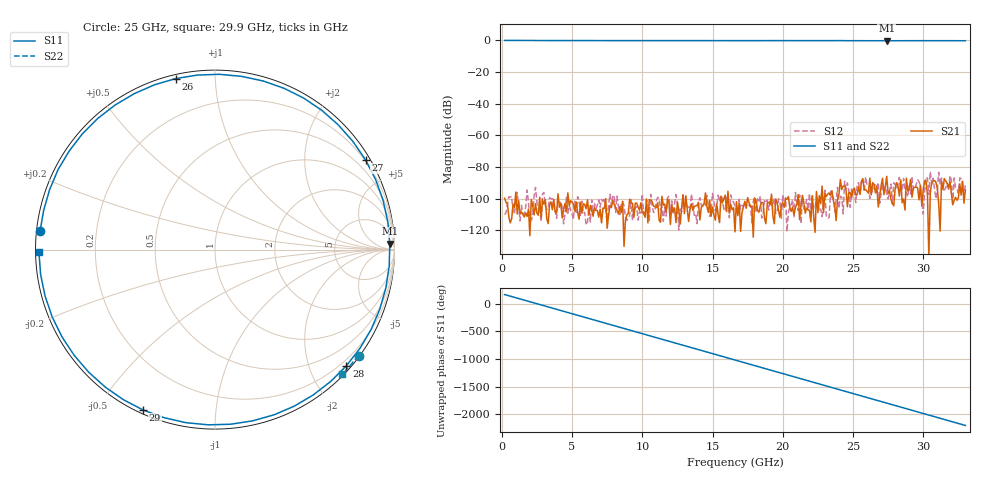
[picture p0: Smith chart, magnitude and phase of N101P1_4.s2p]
# GHZ S RI R 50
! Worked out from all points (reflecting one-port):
!   329 points, 200 MHz to 33 GHz, reference 50 ohm
!   lowest |S11| = -0.2 dB at 27.4 GHz (marker M1), VSWR 77.63, Z = 1.47e+03 + j1.88e+03 ohm
!   phase of S11 starts at 165 deg and turns -2368 deg over the sweep
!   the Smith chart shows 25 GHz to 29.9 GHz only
!   S11 on the Smith chart (normalised r, x): 25 GHz: 0.01, +0.05; 26 GHz: 0.02, +0.80; 27 GHz: 0.17, +3.62; 28 GHz: 0.09, -2.64; 29 GHz: 0.01, -0.65; 29.9 GHz: 0.01, -0.01
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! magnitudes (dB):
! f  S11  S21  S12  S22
! 200 MHz  0.0  -99.7  -110.2  0.0
! 5.7 GHz  -0.1  -109.1  -101.5  0.0
! 8.8 GHz  -0.1  -113.6  -111.3  0.0
! 11.2 GHz  -0.1  -113.6  -99.7  0.0
! 16.6 GHz  -0.2  -120.9  -105.0  -0.1
! 19.2 GHz  -0.1  -97.1  -103.8  0.0
! 22.1 GHz  -0.1  -98.1  -97.5  0.0
! 22.6 GHz  -0.2  -98.1  -107.7  0.0
! 23.6 GHz  -0.1  -101.1  -99.1  0.0
! 23.9 GHz  -0.1  -100.0  -92.8  0.1
! 24.1 GHz  -0.1  -87.8  -98.5  0.0
! 24.3 GHz  -0.1  -92.0  -109.6  0.0
! 25 GHz  -0.2  -94.4  -95.3  -0.1
! 26 GHz  -0.2  -95.3  -91.3  -0.1
! 27 GHz  -0.2  -91.9  -97.1  -0.1
! 27.4 GHz  -0.2  -85.9  -96.8  -0.1
! 27.6 GHz  -0.2  -95.2  -94.9  -0.1
! 28 GHz  -0.2  -93.7  -91.0  -0.1
! 29 GHz  -0.2  -93.5  -92.0  -0.1
! 29.9 GHz  -0.2  -104.6  -102.4  -0.1
! 31.2 GHz  -0.2  -120.5  -90.7  0.0
! 33 GHz  -0.2  -94.5  -91.3  -0.1
